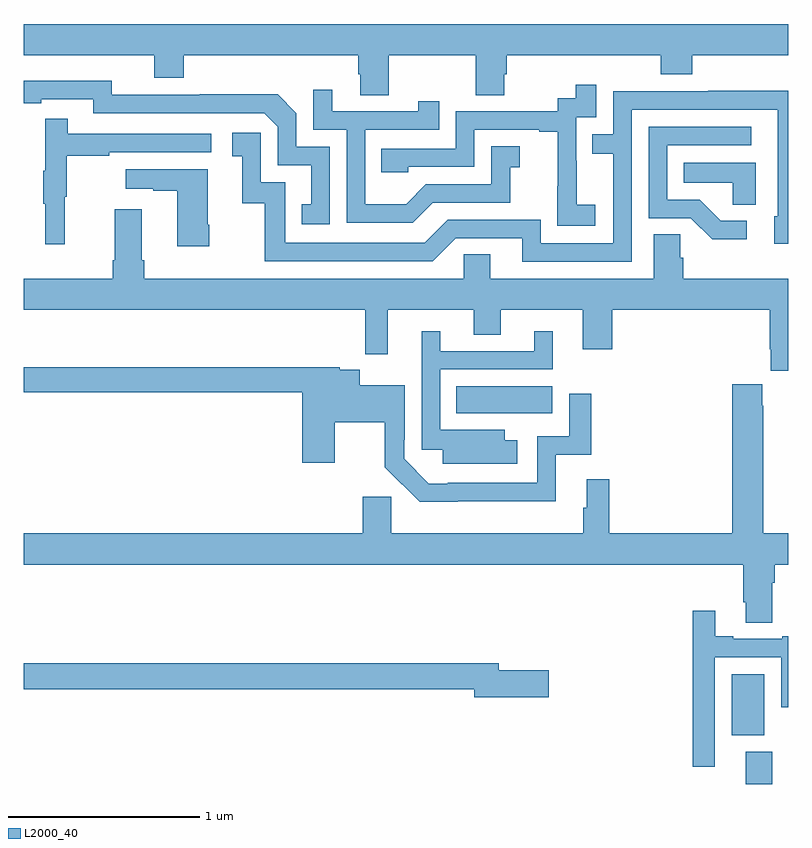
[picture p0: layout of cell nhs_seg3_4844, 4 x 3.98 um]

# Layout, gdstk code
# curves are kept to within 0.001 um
import gdstk
lib = gdstk.Library(unit=1e-6, precision=1e-09)
def R(c, l, rs):  # rectangles x0, y0, x1, y1
    for r in rs: c.add(gdstk.rectangle(r[:2], r[2:], *l))
def P(c, l, *ps):  # polygons
    for p in ps: c.add(gdstk.Polygon(p, *l))
L2000_40 = (2000, 40)

nhs_seg3_4844 = lib.new_cell('nhs_seg3_4844')
R(nhs_seg3_4844, L2000_40, [(374.777,734.4,374.917,734.569), (374.705,734.654,374.875,734.974), (373.264,736.34,373.765,736.48)])
P(nhs_seg3_4844, L2000_40, [(371,738.212),(371.684,738.212),(371.684,738.095),(371.837,738.095),(371.837,738.212),(372.749,738.212),(372.749,738.114),(372.761,738.114),(372.761,738.004),(372.909,738.004),(372.909,738.212),(373.366,738.212),(373.366,738.004),(373.513,738.004),(373.513,738.114),(373.526,738.114),(373.526,738.212),(374.333,738.212),(374.333,738.113),(374.498,738.113),(374.498,738.212),(375,738.212),(375,738.376),(371,738.376)],
  [(372.6,737.733),(372.426,737.733),(372.426,737.91),(372.328,738.008),(371.92,738.008),(371.92,738.006),(371.46,738.006),(371.46,738.079),(371,738.078),(371,737.962),(371.092,737.962),(371.092,737.982),(371.364,737.982),(371.364,737.91),(372.258,737.91),(372.33,737.838),(372.33,737.637),(372.503,737.637),(372.503,737.433),(372.454,737.433),(372.454,737.328),(372.6,737.328)],
  [(373.99,737.431),(373.892,737.431),(373.892,737.66),(373.89,737.66),(373.89,737.889),(373.995,737.889),(373.995,738.058),(373.887,738.058),(373.887,737.988),(373.794,737.988),(373.794,737.919),(373.26,737.919),(373.26,737.724),(372.871,737.724),(372.871,737.601),(373.011,737.601),(373.011,737.628),(373.356,737.628),(373.356,737.823),(373.697,737.823),(373.697,737.811),(373.793,737.811),(373.793,737.527),(373.792,737.527),(373.792,737.321),(373.99,737.321)],
  [(373.141,737.442),(373.545,737.442),(373.545,737.627),(373.594,737.627),(373.594,737.737),(373.446,737.737),(373.446,737.538),(373.104,737.538),(373,737.434),(372.786,737.434),(372.786,737.823),(373.175,737.823),(373.175,737.971),(373.064,737.971),(373.064,737.919),(372.613,737.919),(372.613,738.031),(372.516,738.031),(372.516,737.823),(372.69,737.823),(372.69,737.337),(373.036,737.337)],
  [(374.181,737.928),(374.946,737.928),(374.946,737.37),(374.927,737.37),(374.927,737.226),(375,737.226),(375,738.026),(374.581,738.026),(374.581,738.024),(374.085,738.024),(374.085,737.799),(373.975,737.799),(373.975,737.698),(374.085,737.698),(374.085,737.229),(373.704,737.229),(373.704,737.352),(373.218,737.352),(373.098,737.232),(372.369,737.232),(372.369,737.547),(372.24,737.547),(372.24,737.806),(372.09,737.806),(372.09,737.685),(372.143,737.685),(372.143,737.439),(372.261,737.439),(372.261,737.136),(373.14,737.136),(373.26,737.256),(373.607,737.256),(373.607,737.133),(374.181,737.133)],
  [(371.216,737.472),(371.224,737.472),(371.224,737.686),(371.447,737.686),(371.447,737.706),(371.98,737.706),(371.98,737.802),(371.231,737.802),(371.231,737.881),(371.114,737.881),(371.114,737.609),(371.103,737.609),(371.103,737.435),(371.114,737.435),(371.114,737.223),(371.216,737.223)],
  [(374.782,737.346),(374.647,737.346),(374.536,737.457),(374.367,737.457),(374.367,737.742),(374.806,737.742),(374.806,737.838),(374.271,737.838),(374.271,737.361),(374.49,737.361),(374.603,737.249),(374.782,737.249)],
  [(374.83,737.65),(374.452,737.65),(374.452,737.546),(374.709,737.546),(374.709,737.431),(374.83,737.431)],
  [(371.97,737.326),(371.962,737.326),(371.962,737.617),(371.535,737.617),(371.535,737.513),(371.678,737.513),(371.678,737.503),(371.804,737.503),(371.804,737.214),(371.97,737.214)],
  [(375,737.044),(374.45,737.044),(374.45,737.153),(374.436,737.153),(374.436,737.276),(374.297,737.276),(374.297,737.044),(373.441,737.044),(373.441,737.171),(373.302,737.171),(373.302,737.044),(371.63,737.044),(371.63,737.14),(371.617,737.14),(371.617,737.407),(371.477,737.407),(371.477,737.14),(371.465,737.14),(371.465,737.044),(371,737.044),(371,736.88),(372.787,736.88),(372.787,736.647),(372.905,736.647),(372.905,736.88),(373.355,736.88),(373.355,736.75),(373.495,736.75),(373.495,736.88),(373.925,736.88),(373.925,736.674),(374.078,736.674),(374.078,736.88),(374.903,736.88),(374.903,736.675),(374.909,736.675),(374.909,736.563),(375,736.563)],
  [(373.582,736.198),(373.516,736.198),(373.516,736.252),(373.179,736.252),(373.179,736.569),(373.768,736.569),(373.768,736.768),(373.67,736.768),(373.67,736.665),(373.18,736.665),(373.18,736.768),(373.083,736.768),(373.083,736.149),(373.193,736.149),(373.193,736.076),(373.582,736.076)],
  [(373.271,735.878),(373.783,735.878),(373.783,736.122),(373.97,736.122),(373.97,736.441),(373.854,736.441),(373.854,736.218),(373.686,736.218),(373.686,735.975),(373.219,735.975),(373.219,735.972),(373.119,735.972),(372.99,736.101),(372.99,736.201),(372.993,736.201),(372.993,736.486),(372.757,736.486),(372.757,736.567),(372.653,736.567),(372.653,736.579),(371,736.579),(371,736.45),(372.458,736.45),(372.458,736.08),(372.628,736.08),(372.628,736.292),(372.89,736.292),(372.89,736.058),(373.072,735.876),(373.271,735.876)],
  [(374.917,735.452),(374.93,735.452),(374.93,735.548),(375,735.548),(375,735.712),(374.868,735.712),(374.868,736.379),(374.863,736.379),(374.863,736.492),(374.708,736.492),(374.708,735.712),(374.063,735.712),(374.063,735.994),(373.946,735.994),(373.946,735.845),(373.927,735.845),(373.927,735.712),(372.923,735.712),(372.923,735.903),(372.773,735.903),(372.773,735.712),(371,735.712),(371,735.548),(374.765,735.548),(374.765,735.352),(374.777,735.352),(374.777,735.244),(374.917,735.244)],
  [(374.616,735.063),(374.963,735.063),(374.963,734.802),(375,734.802),(375,735.172),(374.969,735.172),(374.969,735.159),(374.713,735.159),(374.713,735.172),(374.617,735.172),(374.617,735.307),(374.5,735.307),(374.5,734.49),(374.616,734.49)],
  [(373.747,734.996),(373.486,734.996),(373.486,735.032),(371,735.032),(371,734.896),(373.358,734.896),(373.358,734.854),(373.747,734.854)])

lib.write_gds('nhs_seg3_4844.gds')
